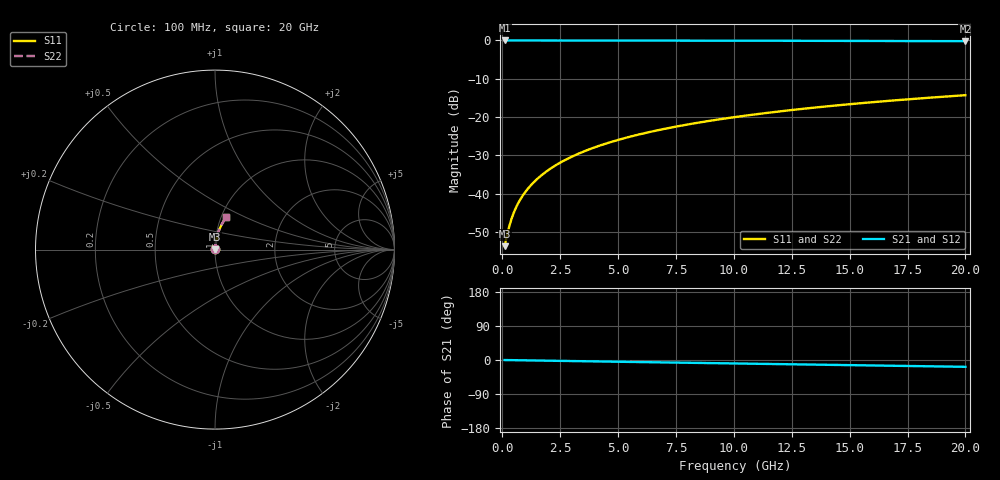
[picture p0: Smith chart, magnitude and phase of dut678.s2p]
! Touchstone file exported from HFSS 2026.1.0
!  File:  C:/ffzhzh/LocalFiles/Ansys_Project_Files/temp_train_BSMRDL_678_1783017477_51716.aedt
!  Generated:  02:39:17 AM Jul  3, 2026
!  Design:  BSMRDL
!  Project:  temp_train_BSMRDL_678_1783017477_51716
! Variables:
!  h_bsmrdl = 2.07um
!  h_ox = 20um
!  h_rdl = 5um
!  h_sub = 80um
!  h_tmrdl = 5um
!  h_tsv = 80um
!  h_via = 3um
!  l_bsmrdl = 203.35um
!  l_sub = 603.35um
!  l_tmrdl = 200um
!  m_sub = 200um
!  pitch = 56.23um
!  r_tsv = 6um
!  s_tmrdl = 10um
!  w_bsmrdl = 26.67um
!  w_sub = 500um
!  w_tmrdl = 12um
!  x_tsv_center1 = 206um
!  x_tsv_center2 = 436.02um
!  x_tsv_center3 = 648.02um
!  x_tsv_center4 = 878.04um
!  x_tsv_center5 = 1090.04um
!  x_tsv_center6 = 1320.06um
# GHz S MA R 50.000000
! Terminal data exported
! Port[1] = BSM_RDL1_1_T1
! Port[2] = BSM_RDL1_1_T2
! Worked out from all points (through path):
!   200 points, 100 MHz to 20 GHz, reference 50 ohm
!   highest |S21| = -0.02 dB at 100 MHz (marker M1); lowest = -0.2 dB at 20 GHz (marker M2)
!   group delay of S21, straight-line fit = 2.5 ps
!   lowest |S11| = -53.7 dB at 100 MHz (marker M3), VSWR 1.00, Z = 50.2 + j0.11 ohm
!   |S11| at or under -10 dB: start of sweep to end of sweep
!   |S22| runs from -53.7 to -14.3 dB; largest |S21 - S12| = 4.1e-15
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0.1  0.002071 32.1  0.9982 -0.1  0.9982 -0.1  0.002071 32.1
! Gamma 0 0 0 0
! Port Impedance 50 0 50 0
0.2  0.002835 50.6  0.9982 -0.2  0.9982 -0.2  0.002835 50.6
0.3  0.003755 60.2  0.9981 -0.3  0.9981 -0.3  0.003755 60.2
0.4  0.004723 65.7  0.9981 -0.4  0.9981 -0.4  0.004723 65.7
0.5  0.005704 69.2  0.998 -0.5  0.998 -0.5  0.005704 69.2
0.6  0.006686 71.7  0.9979 -0.6  0.9979 -0.6  0.006685 71.7
0.8  0.008645 75.0  0.9978 -0.8  0.9978 -0.8  0.008645 75.0
1.1  0.01158 77.9  0.9977 -1.0  0.9977 -1.0  0.01158 77.9
1.3  0.01355 79.1  0.9976 -1.2  0.9976 -1.2  0.01355 79.1
1.6  0.01651 80.4  0.9975 -1.5  0.9975 -1.5  0.01651 80.4
2.1  0.02146 81.7  0.9974 -1.9  0.9974 -1.9  0.02146 81.7
2.7  0.02743 82.4  0.9972 -2.5  0.9972 -2.5  0.02743 82.4
3.5  0.0354 82.7  0.9969 -3.2  0.9969 -3.2  0.0354 82.7
4.2  0.04238 82.7  0.9966 -3.9  0.9966 -3.9  0.04238 82.7
5  0.05034 82.4  0.9961 -4.6  0.9961 -4.6  0.05034 82.4
5.9  0.05927 82.0  0.9955 -5.4  0.9955 -5.4  0.05927 82.0
6.8  0.06818 81.4  0.9949 -6.2  0.9949 -6.2  0.06818 81.4
8.3  0.08294 80.3  0.9936 -7.6  0.9936 -7.6  0.08294 80.3
10.1  0.1005 78.9  0.9917 -9.2  0.9917 -9.2  0.1005 78.9
13.4  0.1321 76.2  0.9875 -12.2  0.9875 -12.2  0.1321 76.2
16.7  0.163 73.4  0.9825 -15.1  0.9825 -15.1  0.163 73.4
20  0.1929 70.6  0.9766 -18.0  0.9766 -18.0  0.1929 70.6
